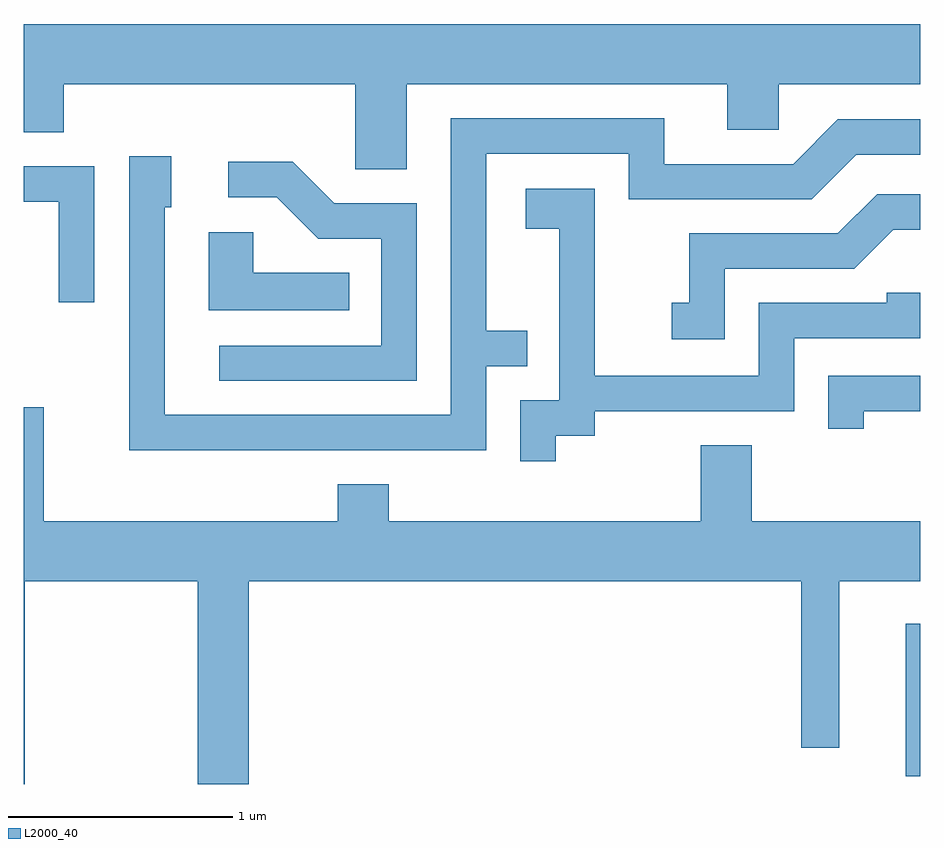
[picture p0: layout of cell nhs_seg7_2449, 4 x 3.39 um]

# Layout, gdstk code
import gdstk
lib = gdstk.Library(unit=1e-6, precision=1e-09)
def R(c, l, rs):  # rectangles x0, y0, x1, y1
    for r in rs: c.add(gdstk.rectangle(r[:2], r[2:], *l))
def P(c, l, *ps):  # polygons
    for p in ps: c.add(gdstk.Polygon(p, *l))
L2000_40 = (2000, 40)

nhs_seg7_2449 = lib.new_cell('nhs_seg7_2449')
R(nhs_seg7_2449, L2000_40, [(263.546,1762.286,263.611,1762.968)])
P(nhs_seg7_2449, L2000_40, [(261.319,1765.376),(262.751,1765.376),(262.751,1765.171),(262.979,1765.171),(262.979,1765.376),(263.611,1765.376),(263.611,1765.644),(259.611,1765.644),(259.611,1765.161),(259.789,1765.161),(259.789,1765.376),(261.091,1765.376),(261.091,1764.996),(261.319,1764.996)],
  [(261.674,1764.116),(261.858,1764.116),(261.858,1764.274),(261.674,1764.274),(261.674,1765.066),(262.311,1765.066),(262.311,1764.861),(263.127,1764.861),(263.327,1765.061),(263.611,1765.061),(263.611,1765.219),(263.244,1765.219),(263.044,1765.019),(262.469,1765.019),(262.469,1765.224),(261.516,1765.224),(261.516,1763.899),(260.239,1763.899),(260.239,1764.826),(260.269,1764.826),(260.269,1765.054),(260.081,1765.054),(260.081,1763.741),(261.674,1763.741)],
  [(261.364,1764.844),(260.997,1764.844),(260.812,1765.029),(260.522,1765.029),(260.522,1764.871),(260.739,1764.871),(260.924,1764.686),(261.206,1764.686),(261.206,1764.209),(260.483,1764.209),(260.483,1764.051),(261.364,1764.051)],
  [(259.924,1765.009),(259.611,1765.009),(259.611,1764.851),(259.766,1764.851),(259.766,1764.403),(259.924,1764.403)],
  [(261.984,1763.806),(262.159,1763.806),(262.159,1763.916),(263.049,1763.916),(263.049,1764.241),(263.611,1764.241),(263.611,1764.444),(263.461,1764.444),(263.461,1764.399),(262.891,1764.399),(262.891,1764.074),(262.159,1764.074),(262.159,1764.909),(261.851,1764.909),(261.851,1764.731),(262.001,1764.731),(262.001,1763.964),(261.826,1763.964),(261.826,1763.693),(261.984,1763.693)],
  [(262.739,1764.551),(263.317,1764.551),(263.492,1764.726),(263.611,1764.726),(263.611,1764.884),(263.419,1764.884),(263.244,1764.709),(262.581,1764.709),(262.581,1764.399),(262.503,1764.399),(262.503,1764.236),(262.739,1764.236)],
  [(261.063,1764.534),(260.634,1764.534),(260.634,1764.714),(260.436,1764.714),(260.436,1764.366),(261.063,1764.366)],
  [(263.359,1763.916),(263.611,1763.916),(263.611,1764.074),(263.201,1764.074),(263.201,1763.838),(263.359,1763.838)],
  [(259.614,1763.156),(260.386,1763.156),(260.386,1762.252),(260.614,1762.252),(260.614,1763.156),(263.081,1763.156),(263.081,1762.413),(263.249,1762.413),(263.249,1763.156),(263.611,1763.156),(263.611,1763.424),(262.859,1763.424),(262.859,1763.764),(262.631,1763.764),(262.631,1763.424),(261.239,1763.424),(261.239,1763.589),(261.011,1763.589),(261.011,1763.424),(259.699,1763.424),(259.699,1763.934),(259.611,1763.934),(259.611,1762.252),(259.614,1762.252)])

lib.write_gds('nhs_seg7_2449.gds')
